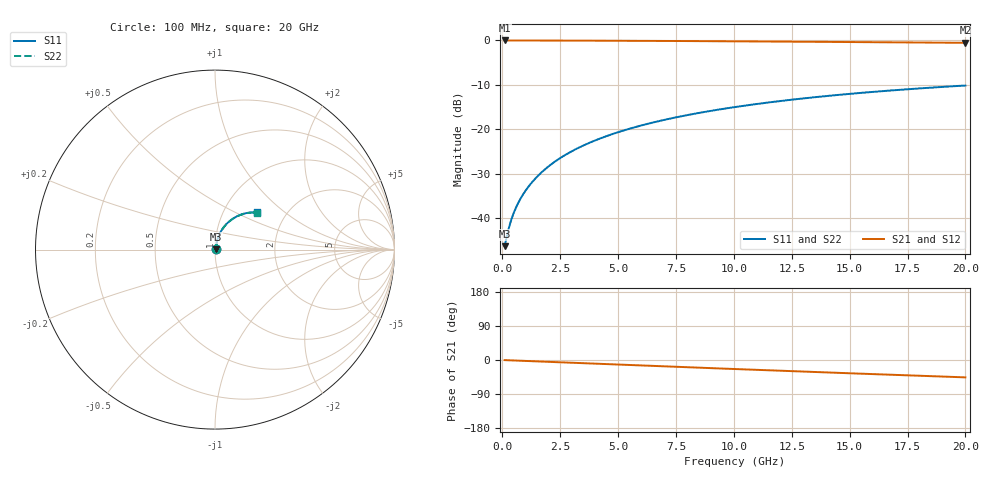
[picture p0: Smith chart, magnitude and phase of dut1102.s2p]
! Touchstone file exported from HFSS 2026.1.0
!  File:  C:/ffzhzh/LocalFiles/Ansys_Project_Files/temp_train_TMRDL_1102_1783161279_51560.aedt
!  Generated:  06:35:53 PM Jul  4, 2026
!  Design:  TMRDL
!  Project:  temp_train_TMRDL_1102_1783161279_51560
! Variables:
!  h_bsmrdl = 2um
!  h_ox = 20um
!  h_rdl = 5um
!  h_sub = 80um
!  h_tmrdl = 2.71um
!  h_tsv = 80um
!  h_via = 3um
!  l_bsmrdl = 300um
!  l_sub = 1134.54um
!  l_tmrdl = 734.54um
!  m_sub = 200um
!  pitch = 38.96um
!  r_tsv = 6um
!  s_tmrdl = 10um
!  w_bsmrdl = 18um
!  w_sub = 500um
!  w_tmrdl = 23.73um
!  x_tsv_center1 = 746.405um
!  x_tsv_center2 = 1064.405um
!  x_tsv_center3 = 1822.675um
!  x_tsv_center4 = 2140.675um
!  x_tsv_center5 = 2898.945um
!  x_tsv_center6 = 3216.945um
# GHz S MA R 50.000000
! Terminal data exported
! Port[1] = TM_RDL1_1_T1
! Port[2] = TM_RDL1_1_T2
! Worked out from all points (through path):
!   200 points, 100 MHz to 20 GHz, reference 50 ohm
!   highest |S21| = -0.04 dB at 100 MHz (marker M1); lowest = -0.6 dB at 20 GHz (marker M2)
!   group delay of S21, straight-line fit = 6.37 ps
!   lowest |S11| = -46.3 dB at 100 MHz (marker M3), VSWR 1.01, Z = 50.4 + j0.227 ohm
!   |S11| at or under -10 dB: start of sweep to end of sweep
!   |S22| runs from -46.3 to -10.2 dB; largest |S21 - S12| = 2.1e-15
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0.1  0.004868 27.5  0.9957 -0.3  0.9957 -0.3  0.004868 27.5
! Gamma 0 0 0 0
! Port Impedance 50 0 50 0
0.3  0.008072 53.0  0.9952 -0.8  0.9952 -0.8  0.008072 53.0
0.4  0.009847 58.3  0.9949 -1.0  0.9949 -1.0  0.009847 58.3
0.5  0.01161 61.9  0.9947 -1.3  0.9947 -1.3  0.01161 61.9
0.6  0.01336 64.5  0.9945 -1.5  0.9945 -1.5  0.01336 64.5
0.8  0.01685 68.3  0.9942 -2.0  0.9942 -2.0  0.01686 68.3
1  0.02037 70.9  0.994 -2.5  0.994 -2.5  0.02037 70.8
1.2  0.02393 72.6  0.9938 -2.9  0.9938 -2.9  0.02393 72.6
1.4  0.02751 73.9  0.9936 -3.4  0.9936 -3.4  0.02752 73.8
1.7  0.03294 75.1  0.9933 -4.1  0.9933 -4.1  0.03294 75.0
2.2  0.04204 76.0  0.9928 -5.3  0.9928 -5.3  0.04204 76.0
2.8  0.053 76.1  0.9921 -6.8  0.9921 -6.8  0.053 76.1
3.5  0.06576 75.6  0.9911 -8.5  0.9911 -8.5  0.06576 75.6
4.2  0.07843 74.7  0.9898 -10.1  0.9898 -10.1  0.07844 74.6
5  0.09277 73.4  0.9882 -12.0  0.9882 -12.0  0.09278 73.3
5.9  0.1087 71.7  0.9862 -14.2  0.9862 -14.2  0.1087 71.6
6.8  0.1243 69.9  0.9838 -16.3  0.9838 -16.3  0.1243 69.8
8.3  0.1496 66.7  0.9795 -19.8  0.9795 -19.8  0.1496 66.6
10.1  0.1787 62.8  0.9737 -24.0  0.9737 -24.0  0.1787 62.7
13.4  0.2281 55.7  0.9618 -31.5  0.9618 -31.5  0.2281 55.5
16.7  0.2721 48.7  0.9492 -38.7  0.9492 -38.7  0.2721 48.5
20  0.3104 41.8  0.9367 -45.8  0.9367 -45.8  0.3104 41.6
